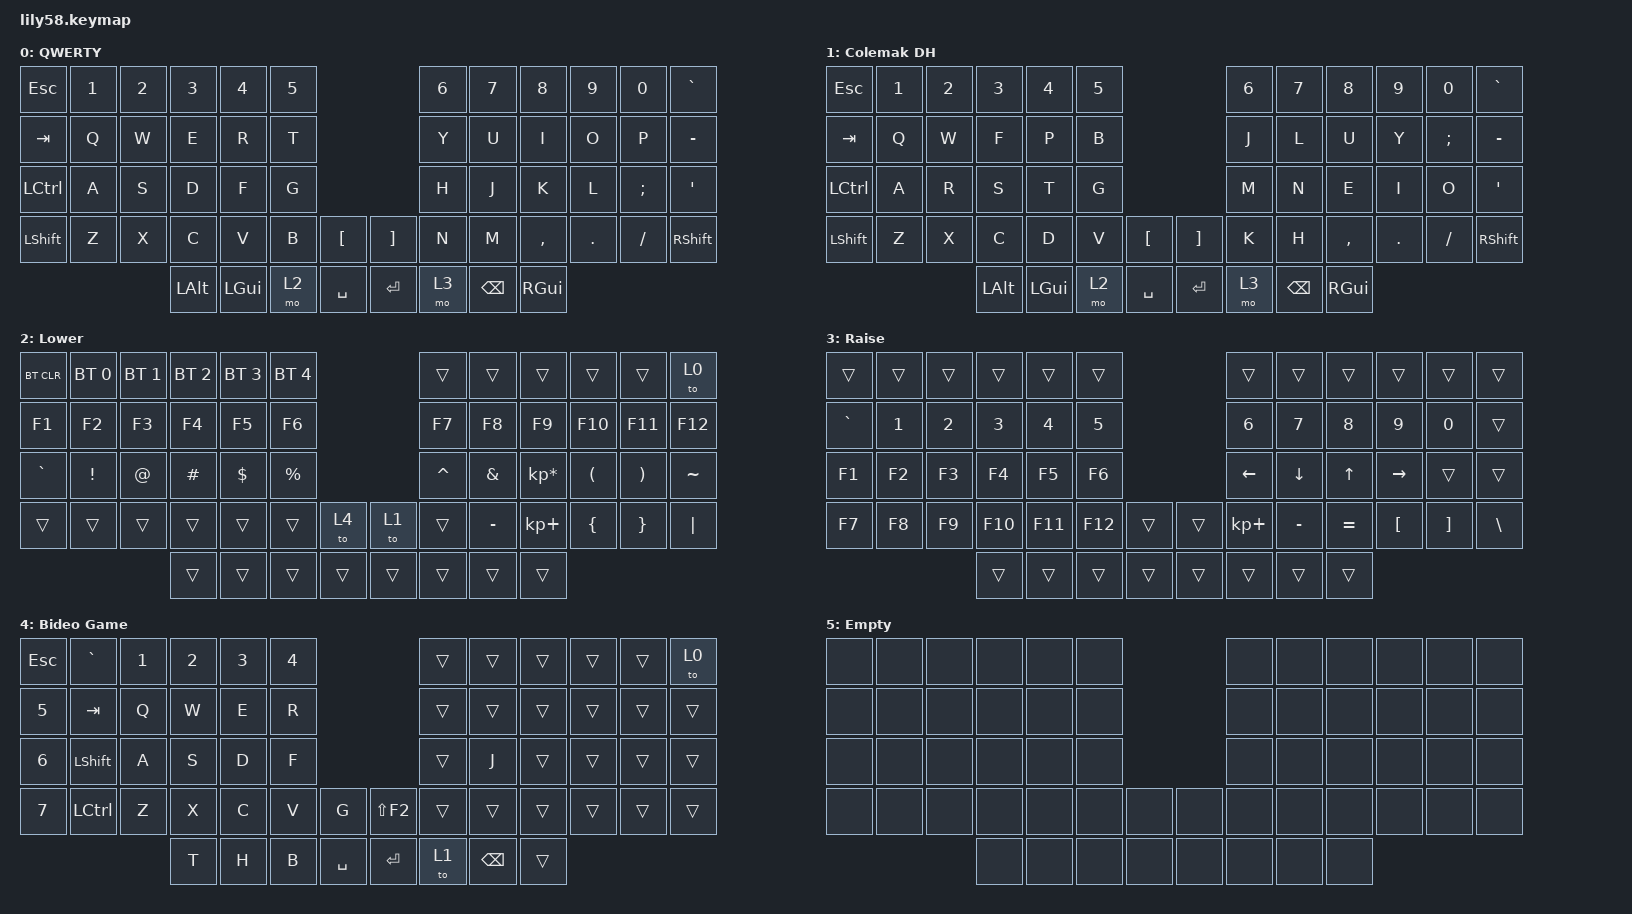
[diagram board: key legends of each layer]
/*
 * Copyright (c) 2020 The ZMK Contributors
 *
 * SPDX-License-Identifier: MIT
 */

#include <behaviors.dtsi>
#include <dt-bindings/zmk/bt.h>
#include <dt-bindings/zmk/keys.h>

/ {
    keymap {
        compatible = "zmk,keymap";

        qwerty {
            // ------------------------------------------------------------------------------------------------------------
            // |  ESC  |  1  |  2  |  3   |  4   |  5   |                   |  6   |  7    |  8    |  9   |   0   |   `   |
            // |  TAB  |  Q  |  W  |  E   |  R   |  T   |                   |  Y   |  U    |  I    |  O   |   P   |   -   |
            // |  CTRL |  A  |  S  |  D   |  F   |  G   |                   |  H   |  J    |  K    |  L   |   ;   |   '   |
            // | SHIFT |  Z  |  X  |  C   |  V   |  B   |   "["  |  |  "]"  |  N   |  M    |  ,    |  .   |   /   | SHIFT |
            //                     | ALT  | GUI  | LOWER|  SPACE |  | ENTER | RAISE| BSPC  | GUI   |

            display-name = "QWERTY";
            bindings = <
&kp ESC    &kp N1  &kp N2  &kp N3    &kp N4    &kp N5                         &kp N6  &kp N7    &kp N8     &kp N9   &kp N0    &kp GRAVE
&kp TAB    &kp Q   &kp W   &kp E     &kp R     &kp T                          &kp Y   &kp U     &kp I      &kp O    &kp P     &kp MINUS
&kp LCTRL  &kp A   &kp S   &kp D     &kp F     &kp G                          &kp H   &kp J     &kp K      &kp L    &kp SEMI  &kp SQT
&kp LSHFT  &kp Z   &kp X   &kp C     &kp V     &kp B   &kp LBKT     &kp RBKT  &kp N   &kp M     &kp COMMA  &kp DOT  &kp FSLH  &kp RSHFT
                           &kp LALT  &kp LGUI  &mo 2   &kp SPACE    &kp RET   &mo 3   &kp BSPC  &kp RGUI
            >;
        };

        colemak_dh {
            display-name = "Colemak DH";
            bindings = <
&kp ESC    &kp N1  &kp N2  &kp N3    &kp N4    &kp N5                         &kp N6  &kp N7    &kp N8     &kp N9   &kp N0    &kp GRAVE
&kp TAB    &kp Q   &kp W   &kp F     &kp P     &kp B                          &kp J   &kp L     &kp U      &kp Y    &kp SEMI  &kp MINUS
&kp LCTRL  &kp A   &kp R   &kp S     &kp T     &kp G                          &kp M   &kp N     &kp E      &kp I    &kp O     &kp SQT
&kp LSHFT  &kp Z   &kp X   &kp C     &kp D     &kp V   &kp LBKT     &kp RBKT  &kp K   &kp H     &kp COMMA  &kp DOT  &kp FSLH  &kp RSHFT
                           &kp LALT  &kp LGUI  &mo 2   &kp SPACE    &kp RET   &mo 3   &kp BSPC  &kp RGUI
            >;
        };

        lower_layer {
            // ------------------------------------------------------------------------------------------------------------
            // | BTCLR | BT1 | BT2 |  BT3 |  BT4 |  BT5 |                   |      |       |       |      |       |       |
            // |  F1   |  F2 |  F3 |  F4  |  F5  |  F6  |                   |  F7  |  F8   |  F9   |  F10 |  F11  |  F12  |
            // |   `   |  !  |  @  |  #   |  $   |  %   |                   |  ^   |  &    |  *    |  (   |   )   |   ~   |
            // |       |     |     |      |      |      |        |  |       |      |  _    |  +    |  {   |   }   |  "|"  |
            //                     |      |      |      |        |  |       |      |       |       |

            display-name = "Lower";
            bindings = <
&bt BT_CLR  &bt BT_SEL 0  &bt BT_SEL 1  &bt BT_SEL 2  &bt BT_SEL 3  &bt BT_SEL 4                    &trans     &trans     &trans           &trans    &trans    &to 0
&kp F1      &kp F2        &kp F3        &kp F4        &kp F5        &kp F6                          &kp F7     &kp F8     &kp F9           &kp F10   &kp F11   &kp F12
&kp GRAVE   &kp EXCL      &kp AT        &kp HASH      &kp DOLLAR    &kp PRCNT                       &kp CARET  &kp AMPS   &kp KP_MULTIPLY  &kp LPAR  &kp RPAR  &kp TILDE
&trans      &trans        &trans        &trans        &trans        &trans        &to 4     &to 1   &trans     &kp MINUS  &kp KP_PLUS      &kp LBRC  &kp RBRC  &kp PIPE
                                        &trans        &trans        &trans        &trans    &trans  &trans     &trans     &trans
            >;
        };

        raise_layer {
            // ------------------------------------------------------------------------------------------------------------
            // |       |     |     |      |      |      |                   |      |       |       |      |       |       |
            // |   `   |  1  |  2  |  3   |  4   |  5   |                   |  6   |   7   |   8   |  9   |   0   |       |
            // |   F1  |  F2 |  F3 |  F4  |  F5  |  F6  |                   |      |   <-  |   v   |  ^   |  ->   |       |
            // |   F7  |  F8 |  F9 |  F10 |  F11 |  F12 |        |  |       |  +   |   -   |   =   |  [   |   ]   |   \   |
            //                     |      |      |      |        |  |       |      |       |       |

            display-name = "Raise";
            bindings = <
&trans     &trans  &trans  &trans   &trans   &trans                     &trans          &trans          &trans        &trans           &trans    &trans
&kp GRAVE  &kp N1  &kp N2  &kp N3   &kp N4   &kp N5                     &kp N6          &kp N7          &kp N8        &kp N9           &kp N0    &trans
&kp F1     &kp F2  &kp F3  &kp F4   &kp F5   &kp F6                     &kp LEFT_ARROW  &kp DOWN_ARROW  &kp UP_ARROW  &kp RIGHT_ARROW  &trans    &trans
&kp F7     &kp F8  &kp F9  &kp F10  &kp F11  &kp F12  &trans    &trans  &kp KP_PLUS     &kp MINUS       &kp EQUAL     &kp LBKT         &kp RBKT  &kp BSLH
                           &trans   &trans   &trans   &trans    &trans  &trans          &trans          &trans
            >;
        };

        bideo_game {
            display-name = "Bideo Game";
            bindings = <
&kp ESC  &kp GRAVE  &kp N1  &kp N2  &kp N3  &kp N4                           &trans  &trans    &trans  &trans  &trans  &to 0
&kp N5   &kp TAB    &kp Q   &kp W   &kp E   &kp R                            &trans  &trans    &trans  &trans  &trans  &trans
&kp N6   &kp LSHFT  &kp A   &kp S   &kp D   &kp F                            &trans  &kp J     &trans  &trans  &trans  &trans
&kp N7   &kp LCTRL  &kp Z   &kp X   &kp C   &kp V   &kp G        &kp LS(F2)  &trans  &trans    &trans  &trans  &trans  &trans
                            &kp T   &kp H   &kp B   &kp SPACE    &kp RET     &to 1   &kp BSPC  &trans
            >;
        };

        empty {
            bindings = <
&none  &none  &none  &none  &none  &none                  &none  &none  &none  &none  &none  &none
&none  &none  &none  &none  &none  &none                  &none  &none  &none  &none  &none  &none
&none  &none  &none  &none  &none  &none                  &none  &none  &none  &none  &none  &none
&none  &none  &none  &none  &none  &none  &none    &none  &none  &none  &none  &none  &none  &none
                     &none  &none  &none  &none    &none  &none  &none  &none
            >;

            label = "Empty";
        };
    };
};
